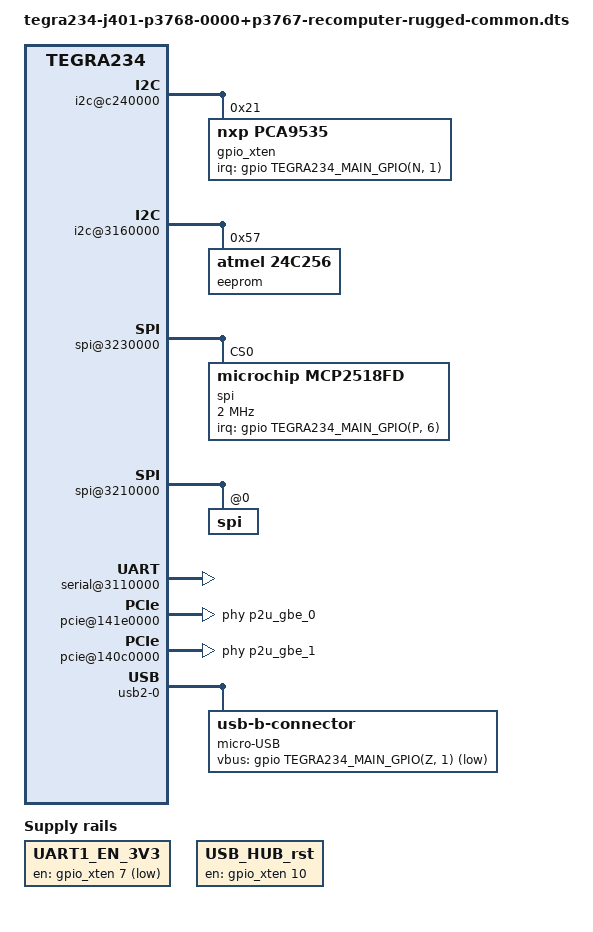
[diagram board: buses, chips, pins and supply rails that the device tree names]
// SPDX-License-Identifier: GPL-2.0-only
// SPDX-FileCopyrightText: Copyright (c) 2023, NVIDIA CORPORATION & AFFILIATES.  All rights reserved.

/dts-v1/;

#include "tegra234-j401-rugged-p3768-0000+p3767-0000.dts"
#include "tegra234-p3768-0000+p3767-xxxx-nv-common.dtsi"
#include <dt-bindings/tegra234-p3767-0000-common.h>

/ {
	bus@0 {

		serial@3100000 {
			rs485-de-gpios = <&gpio TEGRA234_MAIN_GPIO(R, 4) GPIO_ACTIVE_HIGH>;
		};
		
		i2c@c240000 {
			#address-cells = <1>;
			#size-cells = <0>;
			
			gpio_xten: gpio_xten@21 {
				compatible = "nxp,pca9535";
				reg = <0x21>;
				gpio-controller;
				#gpio-cells = <2>;
				
				interrupt-controller;
				#interrupt-cells=<2>;
				
				interrupt-parent = <&gpio>;
				interrupts = <TEGRA234_MAIN_GPIO(N, 1) IRQ_TYPE_EDGE_FALLING>;
				
				gpio-line-names =
				"PSE_PG"	,"PSE_INTB",
				"CAN0_120R_EN"	,"CAN1_120R_EN",
				"M2E_WIFI_DISABLE_N"	,"M2E_BT_DISABLE_N",
				"TP85_i2c_to_gpio6"	,"UART1_EN_3V3",
				"TP86_i2c_to_gpio10"	,"M2B_PCIe_rst",
				"USB_HUB_rst"	,"PCIe_ETH_rst",
				"M2B_WOWWAN_3V3"	,"M2B_DPR_3V3",
				"TP87_i2c_to_gpio16"	,"PSE_PWR_EN";
				
				gpio-line-offsets = <0>, <1>, <2>, <3>, <4>, <5>, <6>, <7>, <8>, <9>, <10>, <11>, <12>, <13>, <14>, <15>;
			};
		};
		
		i2c@3160000 {
			#address-cells = <1>;
			#size-cells = <0>;
			
			eeprom@57 {
				compatible = "atmel,24c256";
				reg = <0x57>;
				/*16 bit*/
				address-width = <0x10>;
				/*32768 bytes */
				size = <0x8000>;
				/delete-property/ read-only;
				
			};
		};
		

		can_clock: can_clock {
				compatible = "fixed-clock";
				#clock-cells = <0>;
				clock-frequency = <40000000>;
				clock-accuracy = <100>;
		};

		spi@3230000 {
        	        #address-cells = <0x01>;
        	        #size-cells = <0x00>;

        	        status = "okay";

			spi@0 {
				compatible = "microchip,mcp2518fd";
				reg = <0x0>;
				spi-max-frequency = <2000000>;
				interrupt-parent = <&gpio>;
				interrupts = <TEGRA234_MAIN_GPIO(P, 6) IRQ_TYPE_LEVEL_LOW>;
				clocks = <&can_clock>;
				nvidia,enable-hw-based-cs;
				controller-data {
					nvidia,enable-hw-based-cs;
					nvidia,rx-clk-tap-delay = <0x10>;
					nvidia,tx-clk-tap-delay = <0x0>;
				};
			};
		};

		spi@3210000 {
			#address-cells = <0x01>;
			#size-cells = <0x00>;
			
			status = "okay";
			cs-gpios = <&gpio TEGRA234_MAIN_GPIO(Z, 6) GPIO_ACTIVE_HIGH>;
			num-cs = <1>;
			
			spi@0 {
				status = "okay";
			};
			
			spi@1 {
				status = "disabled";
			};

		};
		
		serial@3110000 {
			status = "okay";
		};
		
		pcie@141e0000 {
			status = "okay";
			phys = <&p2u_gbe_0>;
			phy-names = "p2u-0";
		};
		
		pcie@140c0000 {
			status = "okay";
			phys = <&p2u_gbe_1>;
			phy-names = "p2u-0";
		};
		
		padctl@3520000 {
			ports {
				usb2-0 {
					connector {
						compatible = "usb-b-connector", "gpio-usb-b-connector";
						label = "micro-USB";
						type = "micro";
						vbus-gpio = <&gpio TEGRA234_MAIN_GPIO(Z, 1) GPIO_ACTIVE_LOW>;
					};
				};
			};
		};
		
		
		UART1_EN_3V3: gpio_xten_pin@7 {
			compatible = "regulator-fixed";
			regulator-name = "UART1_EN_3V3";
			gpios = <&gpio_xten 7 GPIO_ACTIVE_HIGH>;
			enable-active-low;
			regulator-always-on;
		};


		USB_HUB_rst: gpio_xten_pin@10 {
			compatible = "regulator-fixed";
			regulator-name = "USB_HUB_rst";
			gpios = <&gpio_xten 10 GPIO_ACTIVE_HIGH>;
			enable-active-high;
			regulator-always-on;
		};
		
		pinmux@2430000 {
			pinctrl-names = "default";
			pinctrl-0 = <&jetson_io_pinmux>;
			
			jetson_io_pinmux: exp-header-pinmux {
				hdr40-pin19 {
					nvidia,pins = HDR40_PIN19;
					nvidia,function = HDR40_SPI;
					nvidia,pull = <TEGRA_PIN_PULL_DOWN>;
					nvidia,tristate = <TEGRA_PIN_DISABLE>;
					nvidia,enable-input = <TEGRA_PIN_DISABLE>;
				};
				hdr40-pin21 {
					nvidia,pins = HDR40_PIN21;
					nvidia,function = HDR40_SPI;
					nvidia,pull = <TEGRA_PIN_PULL_DOWN>;
					nvidia,tristate = <TEGRA_PIN_DISABLE>;
					nvidia,enable-input = <TEGRA_PIN_ENABLE>;
				};
				hdr40-pin23 {
					nvidia,pins = HDR40_PIN23;
					nvidia,function = HDR40_SPI;
					nvidia,pull = <TEGRA_PIN_PULL_DOWN>;
					nvidia,tristate = <TEGRA_PIN_DISABLE>;
					nvidia,enable-input = <TEGRA_PIN_ENABLE>;
				};
				hdr40-pin24 {
					nvidia,pins = HDR40_PIN24;
					nvidia,function = HDR40_SPI;
					nvidia,pull = <TEGRA_PIN_PULL_UP>;
					nvidia,tristate = <TEGRA_PIN_DISABLE>;
					nvidia,enable-input = <TEGRA_PIN_DISABLE>;
				};
				
				hdr40-pin26 {
					nvidia,pins = HDR40_PIN26;
					nvidia,function = "gp";
					nvidia,pull = <TEGRA_PIN_PULL_UP>;
					nvidia,tristate = <TEGRA_PIN_DISABLE>;
					nvidia,enable-input = <TEGRA_PIN_DISABLE>;
				};
				
				hdr40-pin29 {
					nvidia,pins = "can0_din_paa1";
					nvidia,function = "can0";
					nvidia,pin-label = "can0_din";
					nvidia,tristate = <TEGRA_PIN_ENABLE>;
					nvidia,enable-input = <TEGRA_PIN_ENABLE>;
				};
				hdr40-pin31 {
					nvidia,pins = "can0_dout_paa0";
					nvidia,function = "can0";
					nvidia,pin-label = "can0_dout";
					nvidia,tristate = <TEGRA_PIN_DISABLE>;
					nvidia,enable-input = <TEGRA_PIN_DISABLE>;
				};
				
				hdr40-pin13 {
					nvidia,pins = "spi3_sck_py0";
					nvidia,function = "spi3";
					nvidia,pin-label = "spi3_sck";
					nvidia,tristate = <TEGRA_PIN_DISABLE>;
					nvidia,enable-input = <TEGRA_PIN_ENABLE>;
					
				};
				
				hdr40-pin16 {
					nvidia,pins = "spi3_cs1_py4";
					nvidia,function = "spi3";
					nvidia,pin-label = "spi3_cs1";
					nvidia,tristate = <TEGRA_PIN_DISABLE>;
					nvidia,enable-input = <TEGRA_PIN_ENABLE>;
					
				};
				hdr40-pin18 {
					nvidia,pins = "spi3_cs0_py3";
					nvidia,function = "spi3";
					nvidia,pin-label = "spi3_cs0";
					nvidia,tristate = <TEGRA_PIN_DISABLE>;
					nvidia,enable-input = <TEGRA_PIN_ENABLE>;
					
				};
				
				hdr40-pin37 {
					nvidia,pins = "spi3_mosi_py2";
					nvidia,function = "spi3";
					nvidia,pin-label = "spi3_dout";
					nvidia,tristate = <TEGRA_PIN_DISABLE>;
					nvidia,enable-input = <TEGRA_PIN_ENABLE>;
					
				};
				
				hdr40-pin22 {
					nvidia,pins = "spi3_miso_py1";
					nvidia,function = "spi3";
					nvidia,pin-label = "spi3_din";
					nvidia,pull = <TEGRA_PIN_PULL_DOWN>;
					nvidia,tristate = <TEGRA_PIN_DISABLE>;
					nvidia,enable-input = <TEGRA_PIN_ENABLE>;
				};
			};
		};
	};
};

